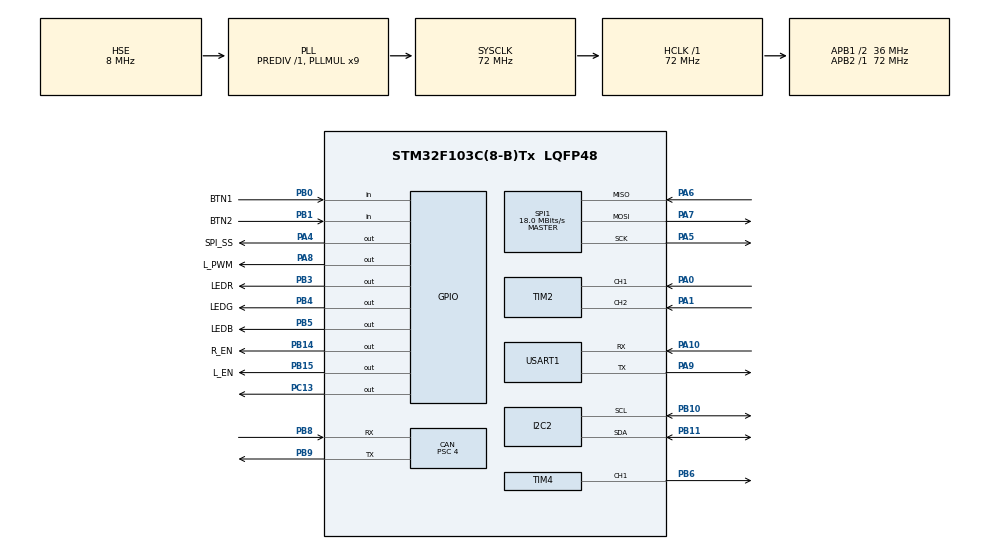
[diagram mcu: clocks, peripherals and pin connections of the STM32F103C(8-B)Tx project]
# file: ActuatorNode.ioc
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CAN.BS1=CAN_BS1_13TQ
CAN.BS2=CAN_BS2_4TQ
CAN.CalculateBaudRate=500000
CAN.CalculateTimeBit=2000
CAN.CalculateTimeQuantum=111.11111111111111
CAN.Prescaler=4
CAN.SJW=CAN_SJW_2TQ
Mcu.Family=STM32F1
Mcu.Name=STM32F103C(8-B)Tx
Mcu.Package=LQFP48
NVIC.CAN1_RX1_IRQn=true\:0\:0\:false\:false\:true\:true\:true\:true
NVIC.PriorityGroup=NVIC_PRIORITYGROUP_4
NVIC.TIM3_IRQn=true\:0\:0\:false\:false\:true\:true\:true\:true
PA0-WKUP.Signal=S_TIM2_CH1_ETR
PA1.Signal=S_TIM2_CH2
PA10.Mode=Asynchronous
PA10.Signal=USART1_RX
PA4.GPIO_Label=SPI_SS
PA4.Signal=GPIO_Output
PA5.Mode=Full_Duplex_Master
PA5.Signal=SPI1_SCK
PA6.Mode=Full_Duplex_Master
PA6.Signal=SPI1_MISO
PA7.Mode=Full_Duplex_Master
PA7.Signal=SPI1_MOSI
PA8.GPIO_Label=L_PWM
PA8.Signal=GPIO_Output
PA9.Mode=Asynchronous
PA9.Signal=USART1_TX
PB0.GPIO_Label=BTN1
PB0.Signal=GPIO_Input
PB1.GPIO_Label=BTN2
PB1.Signal=GPIO_Input
PB10.Mode=I2C
PB10.Signal=I2C2_SCL
PB11.Mode=I2C
PB11.Signal=I2C2_SDA
PB14.GPIO_Label=R_EN
PB14.Signal=GPIO_Output
PB15.GPIO_Label=L_EN
PB15.Signal=GPIO_Output
PB3.GPIO_Label=LEDR
PB3.PinState=GPIO_PIN_SET
PB3.Signal=GPIO_Output
PB4.GPIO_Label=LEDG
PB4.PinState=GPIO_PIN_SET
PB4.Signal=GPIO_Output
PB5.GPIO_Label=LEDB
PB5.PinState=GPIO_PIN_SET
PB5.Signal=GPIO_Output
PB6.Signal=S_TIM4_CH1
PB8.Mode=CAN_Activate
PB8.Signal=CAN_RX
PB9.Mode=CAN_Activate
PB9.Signal=CAN_TX
PC13-TAMPER-RTC.Signal=GPIO_Output
PD0-OSC_IN.Mode=HSE-External-Oscillator
PD0-OSC_IN.Signal=RCC_OSC_IN
PD1-OSC_OUT.Mode=HSE-External-Oscillator
PD1-OSC_OUT.Signal=RCC_OSC_OUT
ProjectManager.HeapSize=0x200
ProjectManager.StackSize=0x400
ProjectManager.TargetToolchain=STM32CubeIDE
RCC.AHBFreq_Value=72000000
RCC.APB1CLKDivider=RCC_HCLK_DIV2
RCC.APB1Freq_Value=36000000
RCC.APB1TimFreq_Value=72000000
RCC.APB2Freq_Value=72000000
RCC.APB2TimFreq_Value=72000000
RCC.HCLKFreq_Value=72000000
RCC.PLLMUL=RCC_PLL_MUL9
RCC.PLLSourceVirtual=RCC_PLLSOURCE_HSE
RCC.SYSCLKFreq_VALUE=72000000
RCC.SYSCLKSource=RCC_SYSCLKSOURCE_PLLCLK
RCC.USBFreq_Value=72000000
SH.S_TIM2_CH1_ETR.0=TIM2_CH1,Encoder_Interface
SH.S_TIM2_CH2.0=TIM2_CH2,Encoder_Interface
SH.S_TIM4_CH1.0=TIM4_CH1,PWM Generation1 CH1
SPI1.BaudRatePrescaler=SPI_BAUDRATEPRESCALER_4
SPI1.CalculateBaudRate=18.0 MBits/s
SPI1.Direction=SPI_DIRECTION_2LINES
SPI1.Mode=SPI_MODE_MASTER
SPI1.VirtualType=VM_MASTER
TIM3.Period=199
TIM3.Prescaler=35999
TIM4.Channel-PWM\ Generation1\ CH1=TIM_CHANNEL_1
USART1.VirtualMode=VM_ASYNC
VP_TIM3_VS_ClockSourceINT.Mode=Internal
board=custom

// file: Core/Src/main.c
/* USER CODE BEGIN Header */
/**
  ******************************************************************************
  * @file           : main.c
  * @brief          : Main program body
  ******************************************************************************
  * @attention
  *
  * Copyright (c) 2023 STMicroelectronics.
  * All rights reserved.
  *
  * This software is licensed under terms that can be found in the LICENSE file
  * in the root directory of this software component.
  * If no LICENSE file comes with this software, it is provided AS-IS.
  *
  ******************************************************************************
  */
/* USER CODE END Header */
#include "main.h"

/* USER CODE BEGIN Includes */
#include "gpio.h"
#include "timer.h"
#include "uart.h"
#include "can_diagnostic_ecu.h"
/* USER CODE END Includes */

CAN_HandleTypeDef hcan;

I2C_HandleTypeDef hi2c2;

SPI_HandleTypeDef hspi1;

TIM_HandleTypeDef htim2;
TIM_HandleTypeDef htim3;
TIM_HandleTypeDef htim4;

UART_HandleTypeDef huart1;

/* USER CODE BEGIN PV */
/* CAN Tx variables */
CAN_TxHeaderTypeDef CANTxHeader;
uint8_t CANTxBuffer[] = {0x01, 0x02, 0x00, 0x00, 0x00, 0x00, 0x00, 0x00};
uint32_t CANTxMailboxes = CAN_TX_MAILBOX1;
/* CAN Rx variables */
extern uint8_t CANRxBuffer[];
extern uint8_t CANDiagnosticRequestRcvFlag;
extern CAN_RxHeaderTypeDef CANRxHeader;
/* USER CODE END PV */

void SystemClock_Config(void);
static void MX_GPIO_Init(void);
static void MX_I2C2_Init(void);
static void MX_SPI1_Init(void);
static void MX_TIM2_Init(void);
static void MX_TIM3_Init(void);
static void MX_TIM4_Init(void);
static void MX_USART1_UART_Init(void);
static void MX_CAN_Init(void);

/* USER CODE BEGIN 0 */
void securityResponse()
{
	if (securityAccessSeedGenerate(&hcan, &CANRxHeader, CANRxBuffer))
	{
		while (CANDiagnosticRequestRcvFlag != 1);
		CANDiagnosticRequestRcvFlag = 0;
		HAL_Delay(1000);
		flowControlResponse(&hcan, &CANRxHeader, CANRxBuffer);
		while (CANDiagnosticRequestRcvFlag != 1);
		CANDiagnosticRequestRcvFlag = 0;
		HAL_Delay(1000);
		securityAccessKeyResponse(&hcan);
	}
}
/* USER CODE END 0 */

int main(void)
{

  /* MCU Configuration--------------------------------------------------------*/

  /* Reset of all peripherals, Initializes the Flash interface and the Systick. */
  HAL_Init();

  /* Configure the system clock */
  SystemClock_Config();

  /* Initialize all configured peripherals */
  MX_GPIO_Init();
  MX_I2C2_Init();
  MX_SPI1_Init();
  MX_TIM2_Init();
  MX_TIM3_Init();
  MX_TIM4_Init();
  MX_USART1_UART_Init();
  MX_CAN_Init();
  /* USER CODE BEGIN 2 */
  HAL_TIM_Base_Start_IT(&htim3);
  if (HAL_CAN_Start(&hcan) != HAL_OK)
  {
	  Error_Handler();
  }
  HAL_CAN_ActivateNotification(&hcan, CAN_IT_RX_FIFO1_MSG_PENDING);
//  printf("Actuator\n");
  //  Monitor_Show();
  /* USER CODE END 2 */

  /* Infinite loop */
  /* USER CODE BEGIN WHILE */
  while (1)
  {
	while (CANDiagnosticRequestRcvFlag != 1);
	CANDiagnosticRequestRcvFlag = 0;
	HAL_Delay(2000);

	readDataByIdentifierResponse (&hcan, &CANRxHeader, CANRxBuffer);
//  writeDataByIdentifierResponse(&hcan, &CANRxHeader, CANRxBuffer);

//	if (securityAccessSeedGenerate(&hcan, &CANRxHeader, CANRxBuffer))
//	{
//		while (CANDiagnosticRequestRcvFlag != 1);
//		CANDiagnosticRequestRcvFlag = 0;
//		HAL_Delay(1000);
//		flowControlResponse(&hcan, &CANRxHeader, CANRxBuffer);
//
//		while (CANDiagnosticRequestRcvFlag != 1);
//		CANDiagnosticRequestRcvFlag = 0;
//		HAL_Delay(1000);
//		securityAccessKeyResponse(&hcan);
//	}

     /* USER CODE END WHILE */

     }
}

void SystemClock_Config(void)
{
  RCC_OscInitTypeDef RCC_OscInitStruct = {0};
  RCC_ClkInitTypeDef RCC_ClkInitStruct = {0};

  /** Initializes the RCC Oscillators according to the specified parameters
  * in the RCC_OscInitTypeDef structure.
  */
  RCC_OscInitStruct.OscillatorType = RCC_OSCILLATORTYPE_HSE;
  RCC_OscInitStruct.HSEState = RCC_HSE_ON;
  RCC_OscInitStruct.HSEPredivValue = RCC_HSE_PREDIV_DIV1;
  RCC_OscInitStruct.HSIState = RCC_HSI_ON;
  RCC_OscInitStruct.PLL.PLLState = RCC_PLL_ON;
  RCC_OscInitStruct.PLL.PLLSource = RCC_PLLSOURCE_HSE;
  RCC_OscInitStruct.PLL.PLLMUL = RCC_PLL_MUL9;
  if (HAL_RCC_OscConfig(&RCC_OscInitStruct) != HAL_OK)
  {
    Error_Handler();
  }

  /** Initializes the CPU, AHB and APB buses clocks
  */
  RCC_ClkInitStruct.ClockType = RCC_CLOCKTYPE_HCLK|RCC_CLOCKTYPE_SYSCLK
                              |RCC_CLOCKTYPE_PCLK1|RCC_CLOCKTYPE_PCLK2;
  RCC_ClkInitStruct.SYSCLKSource = RCC_SYSCLKSOURCE_PLLCLK;
  RCC_ClkInitStruct.AHBCLKDivider = RCC_SYSCLK_DIV1;
  RCC_ClkInitStruct.APB1CLKDivider = RCC_HCLK_DIV2;
  RCC_ClkInitStruct.APB2CLKDivider = RCC_HCLK_DIV1;

  if (HAL_RCC_ClockConfig(&RCC_ClkInitStruct, FLASH_LATENCY_2) != HAL_OK)
  {
    Error_Handler();
  }
}

static void MX_CAN_Init(void)
{

  hcan.Instance = CAN1;
  hcan.Init.Prescaler = 4;
  hcan.Init.Mode = CAN_MODE_NORMAL;
  hcan.Init.SyncJumpWidth = CAN_SJW_2TQ;
  hcan.Init.TimeSeg1 = CAN_BS1_13TQ;
  hcan.Init.TimeSeg2 = CAN_BS2_4TQ;
  hcan.Init.TimeTriggeredMode = DISABLE;
  hcan.Init.AutoBusOff = DISABLE;
  hcan.Init.AutoWakeUp = DISABLE;
  hcan.Init.AutoRetransmission = DISABLE;
  hcan.Init.ReceiveFifoLocked = DISABLE;
  hcan.Init.TransmitFifoPriority = DISABLE;
  if (HAL_CAN_Init(&hcan) != HAL_OK)
  {
    Error_Handler();
  }
  /* USER CODE BEGIN CAN_Init 2 */
  CAN_FilterTypeDef canfilterconfig;

  canfilterconfig.FilterActivation = CAN_FILTER_ENABLE;
  canfilterconfig.FilterBank = 12;  // which filter bank to use from the assigned ones
  canfilterconfig.FilterFIFOAssignment = CAN_FILTER_FIFO1;
  canfilterconfig.FilterIdHigh = CAN_DIAGNOSTIC_REQUEST_ID<<5;
  canfilterconfig.FilterIdLow = 0;
  canfilterconfig.FilterMaskIdHigh = CAN_DIAGNOSTIC_REQUEST_ID<<5;
  canfilterconfig.FilterMaskIdLow = 0x0000;
  canfilterconfig.FilterMode = CAN_FILTERMODE_IDMASK;
  canfilterconfig.FilterScale = CAN_FILTERSCALE_32BIT;
  canfilterconfig.SlaveStartFilterBank = 13;  // how many filters to assign to the CAN1 (master can)

  HAL_CAN_ConfigFilter(&hcan, &canfilterconfig);
  /* USER CODE END CAN_Init 2 */

}

static void MX_I2C2_Init(void)
{

  hi2c2.Instance = I2C2;
  hi2c2.Init.ClockSpeed = 100000;
  hi2c2.Init.DutyCycle = I2C_DUTYCYCLE_2;
  hi2c2.Init.OwnAddress1 = 0;
  hi2c2.Init.AddressingMode = I2C_ADDRESSINGMODE_7BIT;
  hi2c2.Init.DualAddressMode = I2C_DUALADDRESS_DISABLE;
  hi2c2.Init.OwnAddress2 = 0;
  hi2c2.Init.GeneralCallMode = I2C_GENERALCALL_DISABLE;
  hi2c2.Init.NoStretchMode = I2C_NOSTRETCH_DISABLE;
  if (HAL_I2C_Init(&hi2c2) != HAL_OK)
  {
    Error_Handler();
  }

}

static void MX_SPI1_Init(void)
{

  /* SPI1 parameter configuration*/
  hspi1.Instance = SPI1;
  hspi1.Init.Mode = SPI_MODE_MASTER;
  hspi1.Init.Direction = SPI_DIRECTION_2LINES;
  hspi1.Init.DataSize = SPI_DATASIZE_8BIT;
  hspi1.Init.CLKPolarity = SPI_POLARITY_LOW;
  hspi1.Init.CLKPhase = SPI_PHASE_1EDGE;
  hspi1.Init.NSS = SPI_NSS_SOFT;
  hspi1.Init.BaudRatePrescaler = SPI_BAUDRATEPRESCALER_4;
  hspi1.Init.FirstBit = SPI_FIRSTBIT_MSB;
  hspi1.Init.TIMode = SPI_TIMODE_DISABLE;
  hspi1.Init.CRCCalculation = SPI_CRCCALCULATION_DISABLE;
  hspi1.Init.CRCPolynomial = 10;
  if (HAL_SPI_Init(&hspi1) != HAL_OK)
  {
    Error_Handler();
  }

}

static void MX_TIM2_Init(void)
{

  TIM_Encoder_InitTypeDef sConfig = {0};
  TIM_MasterConfigTypeDef sMasterConfig = {0};

  htim2.Instance = TIM2;
  htim2.Init.Prescaler = 0;
  htim2.Init.CounterMode = TIM_COUNTERMODE_UP;
  htim2.Init.Period = 65535;
  htim2.Init.ClockDivision = TIM_CLOCKDIVISION_DIV1;
  htim2.Init.AutoReloadPreload = TIM_AUTORELOAD_PRELOAD_DISABLE;
  sConfig.EncoderMode = TIM_ENCODERMODE_TI1;
  sConfig.IC1Polarity = TIM_ICPOLARITY_RISING;
  sConfig.IC1Selection = TIM_ICSELECTION_DIRECTTI;
  sConfig.IC1Prescaler = TIM_ICPSC_DIV1;
  sConfig.IC1Filter = 0;
  sConfig.IC2Polarity = TIM_ICPOLARITY_RISING;
  sConfig.IC2Selection = TIM_ICSELECTION_DIRECTTI;
  sConfig.IC2Prescaler = TIM_ICPSC_DIV1;
  sConfig.IC2Filter = 0;
  if (HAL_TIM_Encoder_Init(&htim2, &sConfig) != HAL_OK)
  {
    Error_Handler();
  }
  sMasterConfig.MasterOutputTrigger = TIM_TRGO_RESET;
  sMasterConfig.MasterSlaveMode = TIM_MASTERSLAVEMODE_DISABLE;
  if (HAL_TIMEx_MasterConfigSynchronization(&htim2, &sMasterConfig) != HAL_OK)
  {
    Error_Handler();
  }

}

static void MX_TIM3_Init(void)
{

  TIM_ClockConfigTypeDef sClockSourceConfig = {0};
  TIM_MasterConfigTypeDef sMasterConfig = {0};

  htim3.Instance = TIM3;
  htim3.Init.Prescaler = 35999;
  htim3.Init.CounterMode = TIM_COUNTERMODE_UP;
  htim3.Init.Period = 199;
  htim3.Init.ClockDivision = TIM_CLOCKDIVISION_DIV1;
  htim3.Init.AutoReloadPreload = TIM_AUTORELOAD_PRELOAD_DISABLE;
  if (HAL_TIM_Base_Init(&htim3) != HAL_OK)
  {
    Error_Handler();
  }
  sClockSourceConfig.ClockSource = TIM_CLOCKSOURCE_INTERNAL;
  if (HAL_TIM_ConfigClockSource(&htim3, &sClockSourceConfig) != HAL_OK)
  {
    Error_Handler();
  }
  sMasterConfig.MasterOutputTrigger = TIM_TRGO_RESET;
  sMasterConfig.MasterSlaveMode = TIM_MASTERSLAVEMODE_DISABLE;
  if (HAL_TIMEx_MasterConfigSynchronization(&htim3, &sMasterConfig) != HAL_OK)
  {
    Error_Handler();
  }

}

static void MX_TIM4_Init(void)
{

  TIM_MasterConfigTypeDef sMasterConfig = {0};
  TIM_OC_InitTypeDef sConfigOC = {0};

  htim4.Instance = TIM4;
  htim4.Init.Prescaler = 0;
  htim4.Init.CounterMode = TIM_COUNTERMODE_UP;
  htim4.Init.Period = 65535;
  htim4.Init.ClockDivision = TIM_CLOCKDIVISION_DIV1;
  htim4.Init.AutoReloadPreload = TIM_AUTORELOAD_PRELOAD_DISABLE;
  if (HAL_TIM_PWM_Init(&htim4) != HAL_OK)
  {
    Error_Handler();
  }
  sMasterConfig.MasterOutputTrigger = TIM_TRGO_RESET;
  sMasterConfig.MasterSlaveMode = TIM_MASTERSLAVEMODE_DISABLE;
  if (HAL_TIMEx_MasterConfigSynchronization(&htim4, &sMasterConfig) != HAL_OK)
  {
    Error_Handler();
  }
  sConfigOC.OCMode = TIM_OCMODE_PWM1;
  sConfigOC.Pulse = 0;
  sConfigOC.OCPolarity = TIM_OCPOLARITY_HIGH;
  sConfigOC.OCFastMode = TIM_OCFAST_DISABLE;
  if (HAL_TIM_PWM_ConfigChannel(&htim4, &sConfigOC, TIM_CHANNEL_1) != HAL_OK)
  {
    Error_Handler();
  }
  HAL_TIM_MspPostInit(&htim4);

}

static void MX_USART1_UART_Init(void)
{

  huart1.Instance = USART1;
  huart1.Init.BaudRate = 115200;
  huart1.Init.WordLength = UART_WORDLENGTH_8B;
  huart1.Init.StopBits = UART_STOPBITS_1;
  huart1.Init.Parity = UART_PARITY_NONE;
  huart1.Init.Mode = UART_MODE_TX_RX;
  huart1.Init.HwFlowCtl = UART_HWCONTROL_NONE;
  huart1.Init.OverSampling = UART_OVERSAMPLING_16;
  if (HAL_UART_Init(&huart1) != HAL_OK)
  {
    Error_Handler();
  }

}

static void MX_GPIO_Init(void)
{
  GPIO_InitTypeDef GPIO_InitStruct = {0};

  /* GPIO Ports Clock Enable */
  __HAL_RCC_GPIOC_CLK_ENABLE();
  __HAL_RCC_GPIOD_CLK_ENABLE();
  __HAL_RCC_GPIOA_CLK_ENABLE();
  __HAL_RCC_GPIOB_CLK_ENABLE();

  /*Configure GPIO pin Output Level */
  HAL_GPIO_WritePin(GPIOC, GPIO_PIN_13, GPIO_PIN_RESET);

  /*Configure GPIO pin Output Level */
  HAL_GPIO_WritePin(GPIOA, SPI_SS_Pin|L_PWM_Pin, GPIO_PIN_RESET);

  /*Configure GPIO pin Output Level */
  HAL_GPIO_WritePin(GPIOB, R_EN_Pin|L_EN_Pin, GPIO_PIN_RESET);

  /*Configure GPIO pin Output Level */
  HAL_GPIO_WritePin(GPIOB, LEDR_Pin|LEDG_Pin|LEDB_Pin, GPIO_PIN_SET);

  /*Configure GPIO pin : PC13 */
  GPIO_InitStruct.Pin = GPIO_PIN_13;
  GPIO_InitStruct.Mode = GPIO_MODE_OUTPUT_PP;
  GPIO_InitStruct.Pull = GPIO_NOPULL;
  GPIO_InitStruct.Speed = GPIO_SPEED_FREQ_LOW;
  HAL_GPIO_Init(GPIOC, &GPIO_InitStruct);

  /*Configure GPIO pins : SPI_SS_Pin L_PWM_Pin */
  GPIO_InitStruct.Pin = SPI_SS_Pin|L_PWM_Pin;
  GPIO_InitStruct.Mode = GPIO_MODE_OUTPUT_PP;
  GPIO_InitStruct.Pull = GPIO_NOPULL;
  GPIO_InitStruct.Speed = GPIO_SPEED_FREQ_LOW;
  HAL_GPIO_Init(GPIOA, &GPIO_InitStruct);

  /*Configure GPIO pins : BTN1_Pin BTN2_Pin */
  GPIO_InitStruct.Pin = BTN1_Pin|BTN2_Pin;
  GPIO_InitStruct.Mode = GPIO_MODE_INPUT;
  GPIO_InitStruct.Pull = GPIO_NOPULL;
  HAL_GPIO_Init(GPIOB, &GPIO_InitStruct);

  /*Configure GPIO pins : R_EN_Pin L_EN_Pin LEDR_Pin LEDG_Pin
                           LEDB_Pin */
  GPIO_InitStruct.Pin = R_EN_Pin|L_EN_Pin|LEDR_Pin|LEDG_Pin
                          |LEDB_Pin;
  GPIO_InitStruct.Mode = GPIO_MODE_OUTPUT_PP;
  GPIO_InitStruct.Pull = GPIO_NOPULL;
  GPIO_InitStruct.Speed = GPIO_SPEED_FREQ_LOW;
  HAL_GPIO_Init(GPIOB, &GPIO_InitStruct);

}

void Error_Handler(void)
{
  __disable_irq();
  while (1)
  {
  }
}
